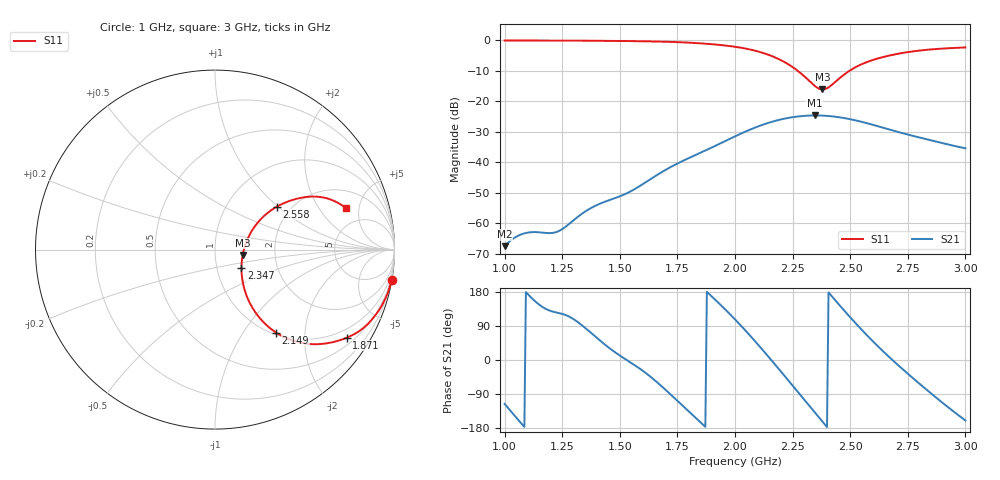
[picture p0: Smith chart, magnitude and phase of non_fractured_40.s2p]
! TOUCHSTONE file generated by CST MICROWAVE STUDIO
! Date and time: Sat Mar  8 13:54:11 2025
! Project name: non_fractured.cst
! Parameters = {B=2.5; D=160; F=15; Feed=2.85625; L=100; M=5; R=0.384908; S=1.5; Theta=270; length=57.125; wave=114.25}
! Header version: 2024
! Port assignment regex: !\s*Touchstone port\s*([0-9]+)\s*=\s*(CST MWS port|CST DES external port|CST DES block port)\s*(.+)\s* \(\"(.*)\"\)(\s*mode\s*([0-9]+))?.*
! Touchstone port assignment:
! Touchstone port 1 = CST MWS port 1 ("")
! Touchstone port 2 = CST MWS port 2 ("")
# GHz S DB R 50
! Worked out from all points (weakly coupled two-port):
!   304 points, 1 GHz to 3 GHz, reference 50 ohm
!   highest |S21| = -24.60 dB at 2.347 GHz (marker M1); lowest = -67.4 dB at 1 GHz (marker M2)
!   lowest |S11| = -16.1 dB at 2.38 GHz (marker M3), VSWR 1.37, Z = 68.1 - j4.2 ohm
!   |S11| at or under -10 dB: 2.273 GHz to 2.496 GHz (223.2 MHz wide, 9.36 % of centre)
!   S12 and S22 are empty: the file has one direction only
!   S11 on the Smith chart (normalised r, x): 1 GHz: 0, -12; 1.871 GHz: 0.71, -3.15; 2.149 GHz: 1.03, -1.43; 2.347 GHz: 1.31, -0.28; 2.558 GHz: 1.69, +0.98; 3 GHz: 3.27, +3.68
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1  -0.02 -9.7  -67.45 -115.8  -200.00 0.0  -200.00 0.0
1.0396  -0.02 -10.3  -64.84 -144.2  -200.00 0.0  -200.00 0.0
1.08581  -0.03 -10.9  -63.25 -176.5  -200.00 0.0  -200.00 0.0
1.23102  -0.05 -13.2  -62.63 124.5  -200.00 0.0  -200.00 0.0
1.33663  -0.09 -15.2  -56.77 91.2  -200.00 0.0  -200.00 0.0
1.40264  -0.12 -16.6  -53.89 57.2  -200.00 0.0  -200.00 0.0
1.54125  -0.22 -20.1  -49.71 -4.3  -200.00 0.0  -200.00 0.0
1.66667  -0.38 -24.1  -43.88 -61.3  -200.00 0.0  -200.00 0.0
1.87129  -1.08 -33.7  -36.09 -176.4  -200.00 0.0  -200.00 0.0
2.0033  -2.13 -42.3  -31.34 105.1  -200.00 0.0  -200.00 0.0
2.08251  -3.29 -48.5  -28.71 52.7  -200.00 0.0  -200.00 0.0
2.14851  -4.81 -53.6  -26.94 6.3  -200.00 0.0  -200.00 0.0
2.24752  -8.60 -57.1  -25.20 -65.8  -200.00 0.0  -200.00 0.0
2.33993  -14.50 -38.4  -24.61 -133.8  -200.00 0.0  -200.00 0.0
2.34653  -14.92 -34.8  -24.60 -138.7  -200.00 0.0  -200.00 0.0
2.37954  -16.08 -11.1  -24.65 -162.7  -200.00 0.0  -200.00 0.0
2.40594  -15.38 8.5  -24.78 178.3  -200.00 0.0  -200.00 0.0
2.47195  -11.30 31.6  -25.43 131.9  -200.00 0.0  -200.00 0.0
2.55776  -7.54 34.8  -26.84 74.8  -200.00 0.0  -200.00 0.0
2.66997  -4.96 30.8  -29.21 7.4  -200.00 0.0  -200.00 0.0
2.83498  -3.06 23.3  -32.46 -80.2  -200.00 0.0  -200.00 0.0
3  -2.30 17.6  -35.36 -159.6  -200.00 0.0  -200.00 0.0
